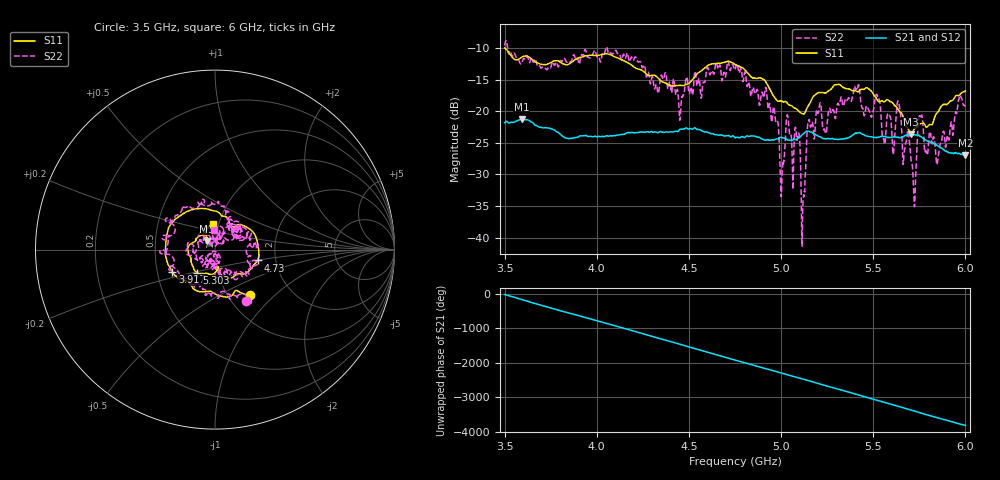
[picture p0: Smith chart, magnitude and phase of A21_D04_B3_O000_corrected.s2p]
! Created with skrf 1.9.0 (http://scikit-rf.org).
# Hz S RI R 50.0
!freq ReS11 ImS11 ReS21 ImS21 ReS12 ImS12 ReS22 ImS22
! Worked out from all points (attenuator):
!   1601 points, 3.5 GHz to 6 GHz, reference 50 ohm
!   highest |S21| = -21.29 dB at 3.592 GHz (marker M1); lowest = -27.0 dB at 6 GHz (marker M2)
!   lowest |S11| = -23.6 dB at 5.705 GHz (marker M3), VSWR 1.14, Z = 45.5 + j4.43 ohm
!   |S11| at or under -10 dB: 3.501 GHz to end of sweep
!   |S22| runs from -41.4 to -8.8 dB; largest |S21 - S12| = 0.0011
!   S11 on the Smith chart (normalised r, x): 3.5 GHz: 1.26, -0.70; 3.917 GHz: 0.60, -0.16; 4.73 GHz: 1.60, -0.21; 5.303 GHz: 0.79, -0.21; 6 GHz: 0.94, +0.28
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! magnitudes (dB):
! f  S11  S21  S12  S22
! 3.5 GHz  -10.0  -21.8  -21.8  -9.6
! 3.592 GHz  -11.4  -21.3  -21.3  -12.4
! 3.917 GHz  -11.4  -23.9  -23.9  -11.0
! 4.334 GHz  -14.8  -23.4  -23.3  -17.1
! 4.73 GHz  -12.2  -24.0  -24.0  -13.1
! 4.75 GHz  -12.6  -24.2  -24.1  -13.4
! 4.969 GHz  -18.0  -24.4  -24.4  -21.2
! 5.005 GHz  -18.4  -24.1  -24.1  -30.3
! 5.034 GHz  -18.7  -24.6  -24.5  -20.6
! 5.088 GHz  -19.7  -24.4  -24.3  -24.5
! 5.119 GHz  -20.4  -23.6  -23.5  -34.5
! 5.147 GHz  -19.2  -23.2  -23.1  -21.8
! 5.167 GHz  -18.1  -23.4  -23.3  -21.7
! 5.303 GHz  -15.8  -24.5  -24.4  -19.3
! 5.584 GHz  -18.3  -24.1  -24.1  -20.4
! 5.611 GHz  -18.9  -24.0  -23.9  -26.5
! 5.639 GHz  -19.9  -24.2  -24.1  -18.7
! 5.705 GHz  -23.6  -23.8  -23.7  -27.5
! 5.725 GHz  -22.8  -23.7  -23.7  -34.7
! 5.756 GHz  -22.0  -24.0  -23.9  -21.0
! 5.848 GHz  -20.2  -25.5  -25.4  -28.2
! 6 GHz  -16.8  -27.0  -26.9  -19.3
